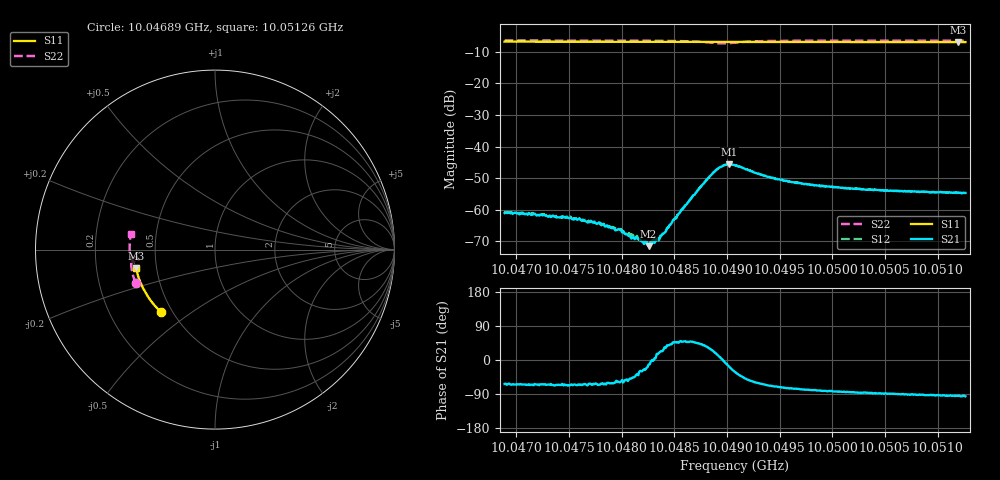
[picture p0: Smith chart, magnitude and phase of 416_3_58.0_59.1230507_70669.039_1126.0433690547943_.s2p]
#  HZ  S  RI  R  50.00
! Rohde & Schwarz Vector Network Analyzer
! Rohde-Schwarz,ZNB20-2Port,1311601062101988,3.16
! Created: UTC 3/21/2024, 1:08:57 AM
! freq[Hz]  re:S11  im:S11  re:S21  im:S21  re:S12  im:S12  re:S22  im:S22
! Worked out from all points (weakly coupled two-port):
!   401 points, 10.04689 GHz to 10.05126 GHz, reference 50 ohm
!   highest |S21| = -45.67 dB at 10.04902 GHz (marker M1); lowest = -71.6 dB at 10.04826 GHz (marker M2)
!   lowest |S11| = -6.9 dB at 10.0512 GHz (marker M3), VSWR 2.65, Z = 19.1 - j5.05 ohm
!   |S11| at or under -10 dB: nowhere
!   |S22| runs from -7.3 to -6.4 dB; largest |S21 - S12| = 0.00037
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1.0046889e10  -0.3015 -0.3472  0.000399 -0.000792  0.000467 -0.000782  -0.4422 -0.1865
1.004725e10  -0.3186 -0.3305  0.000355 -0.000732  0.000404 -0.00073  -0.4506 -0.1632
1.0047622e10  -0.3352 -0.3124  0.000273 -0.000613  0.000304 -0.000607  -0.4578 -0.1389
1.0047753e10  -0.3408 -0.3058  0.000292 -0.000542  0.000328 -0.000554  -0.4601 -0.1298
1.0047808e10  -0.3431 -0.3029  0.000278 -0.000528  0.00028 -0.000491  -0.4609 -0.1261
1.0047972e10  -0.3499 -0.2946  0.000267 -0.000418  0.000293 -0.000388  -0.4634 -0.1144
1.0048038e10  -0.3526 -0.2912  0.000244 -0.000328  0.000272 -0.000326  -0.4642 -0.1097
1.0048082e10  -0.3544 -0.289  0.000251 -0.000288  0.000285 -0.000285  -0.4647 -0.1064
1.004818e10  -0.3583 -0.2838  0.000285 -0.000155  0.000287 -0.000163  -0.4657 -0.099
1.0048235e10  -0.3605 -0.2809  0.000289 -0.000115  0.000298 -7.58e-05  -0.4661 -0.0948
1.0048257e10  -0.3614 -0.2798  0.000259 -5.47e-05  0.00029 -5.77e-05  -0.4663 -0.093
1.00483e10  -0.363 -0.2774  0.000302 -1.08e-05  0.00032 1.88e-05  -0.4664 -0.0894
1.0048355e10  -0.3652 -0.2745  0.000313 0.000106  0.000318 0.000142  -0.4665 -0.085
1.0048847e10  -0.3827 -0.2472  0.00309 0.00165  0.00303 0.00187  -0.4418 -0.0423
1.0048935e10  -0.3853 -0.2425  0.00468 0.000571  0.00465 0.000837  -0.4287 -0.0491
1.0049022e10  -0.3883 -0.2376  0.00496 -0.00159  0.00511 -0.00129  -0.4295 -0.065
1.0049077e10  -0.39 -0.2348  0.00429 -0.00264  0.00451 -0.00235  -0.4374 -0.0706
1.0049438e10  -0.4015 -0.2138  0.00113 -0.00298  0.00133 -0.00291  -0.4698 -0.0457
1.004981e10  -0.4118 -0.1918  0.000451 -0.00242  0.000601 -0.00241  -0.4754 -0.0152
1.0050543e10  -0.4288 -0.1468  2.87e-05 -0.00199  0.00017 -0.00201  -0.4752 0.0371
1.0051199e10  -0.4397 -0.1051  -0.000148 -0.00185  -5.13e-05 -0.00187  -0.4693 0.0812
1.0051265e10  -0.4407 -0.1009  -0.000192 -0.00183  -6.94e-05 -0.00185  -0.4684 0.0855
